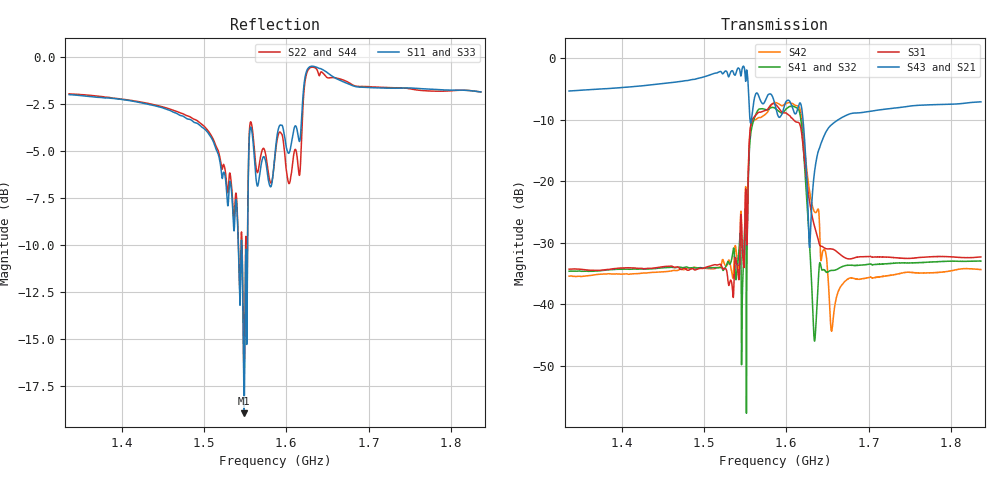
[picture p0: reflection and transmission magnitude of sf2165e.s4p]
# Hz S RI R 50
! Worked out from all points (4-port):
!   1601 points, 1.336 GHz to 1.836 GHz, reference 50 ohm
!   strongest paths, dB at 1.336 GHz, 1.461 GHz, 1.586 GHz, 1.711 GHz, 1.836 GHz:
!     S43: -5.3, -3.9, -7.6, -8.4, -7.1
!     S21: -5.3, -3.9, -7.5, -8.5, -7.1
!     S31: -34.3, -33.8, -7.4, -32.3, -32.3
!     S41: -34.6, -34.0, -8.1, -33.5, -33.0
!     S32: -34.8, -34.3, -8.2, -33.8, -33.3
!     S42: -35.4, -34.5, -7.2, -35.6, -34.3
!   lowest |S11| = -19.0 dB at 1.549 GHz (marker M1), VSWR 1.25, Z = 59.9 - j7.5 ohm
!   |S11| at or under -10 dB: 1.541809 GHz to 1.545342 GHz (3.533 MHz wide, 0.229 % of centre); 1.546091 GHz to 1.553051 GHz (6.96 MHz wide, 0.449 % of centre)
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1.33636e9  0.486 -0.6304  0.4282 0.3359  0.00588 0.0184  0.00673 0.0173
           0.4283 0.3363  0.5211 -0.6067  0.00544 0.0172  0.00434 0.0164
           0.00587 0.0184  0.00547 0.0173  0.5383 -0.6039  0.4168 0.3472
           0.00672 0.0173  0.00437 0.0164  0.4166 0.3472  0.5117 -0.6207
1.54886e9  0.0941 -0.0619  0.8089 -0.2492  -0.00876 0.0187  0.0243 0.0176
           0.8087 -0.2489  0.1205 -0.065  0.0225 0.0189  -0.0118 0.021
           -0.00883 0.0188  0.0226 0.0189  0.1209 -0.0159  0.8049 -0.2631
           0.0243 0.0176  -0.0118 0.0211  0.8047 -0.2633  0.1339 -0.035
1.561048e9  0.4352 -0.3352  0.4661 0.0236  0.3224 -0.0858  -0.2948 0.1298
            0.4655 0.024  0.4675 -0.3378  -0.3009 0.1187  0.3003 -0.0856
            0.3219 -0.0865  -0.3006 0.1197  0.4731 -0.3035  0.4606 0.0372
            -0.2945 0.1304  0.3002 -0.086  0.4606 0.037  0.4715 -0.3492
1.606672e9  0.5659 -0.1875  0.3945 -0.1497  0.1424 -0.2955  -0.1367 0.3856
            0.3939 -0.1494  0.4767 -0.1437  -0.149 0.3791  0.1723 -0.3948
            0.1417 -0.2955  -0.148 0.3795  0.5891 -0.158  0.394 -0.129
            -0.136 0.3854  0.1717 -0.3949  0.3938 -0.1291  0.4836 -0.1647
1.634485e9  0.8312 -0.4507  0.0687 0.0977  0.0181 0.0386  -0.005 0.000361
            0.0686 0.0976  0.8561 -0.3863  -0.0051 -4.34e-05  0.025 0.0504
            0.0182 0.0386  -0.00512 -2.77e-05  0.8675 -0.3925  0.066 0.1018
            -0.00501 0.000412  0.0252 0.0504  0.066 0.1017  0.8623 -0.4002
1.655422e9  0.6939 -0.5612  0.1967 0.2126  0.0106 0.0261  0.00764 0.0172
            0.1965 0.2125  0.7367 -0.4882  0.00635 0.0167  0.00405 0.00462
            0.0105 0.0261  0.00637 0.0168  0.7464 -0.5083  0.1882 0.2209
            0.00764 0.0172  0.00405 0.00465  0.1882 0.2206  0.7424 -0.5013
1.83636e9  0.5301 -0.6109  0.3552 0.2586  0.00857 0.0227  0.00949 0.0204
           0.3556 0.2577  0.5659 -0.5781  0.00738 0.0203  0.00554 0.0183
           0.0085 0.0227  0.00739 0.0203  0.5897 -0.5665  0.3474 0.2741
           0.00945 0.0204  0.00553 0.0184  0.3478 0.2737  0.5734 -0.5896
